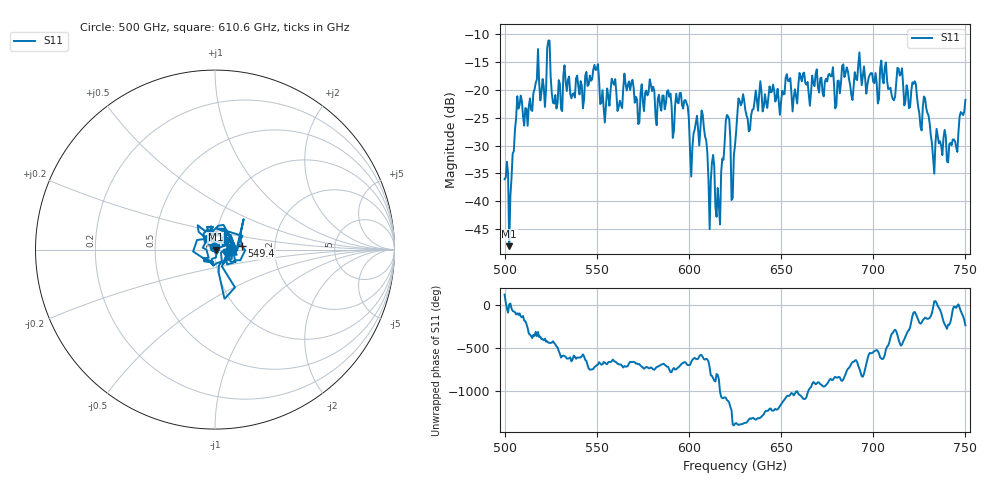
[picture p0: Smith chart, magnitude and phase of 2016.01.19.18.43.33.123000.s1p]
!Created with skrf (http://scikit-rf.org).
# GHz S RI R 50.0
!freq ReS11 ImS11
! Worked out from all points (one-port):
!   401 points, 500 GHz to 750 GHz, reference 50 ohm
!   lowest |S11| = -48.1 dB at 502.5 GHz (marker M1), VSWR 1.01, Z = 50.4 + j0.0537 ohm
!   |S11| at or under -10 dB: start of sweep to end of sweep
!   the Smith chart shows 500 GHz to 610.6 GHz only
!   S11 on the Smith chart (normalised r, x): 500 GHz: 0.98, +0.03; 549.4 GHz: 1.35, +0.05; 610.6 GHz: 1.01, +0.03
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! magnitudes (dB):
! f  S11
! 500 GHz  -36.0
! 502.5 GHz  -48.1
! 508.1 GHz  -22.7
! 520.6 GHz  -18.0
! 523.8 GHz  -11.1
! 526.9 GHz  -22.4
! 531.2 GHz  -23.8
! 549.4 GHz  -16.4
! 553.1 GHz  -20.0
! 562.5 GHz  -21.9
! 593.8 GHz  -22.2
! 598.8 GHz  -22.4
! 601.9 GHz  -30.3
! 608.1 GHz  -26.8
! 610.6 GHz  -36.3
! 615.6 GHz  -37.6
! 620.6 GHz  -24.5
! 623.8 GHz  -39.4
! 625 GHz  -29.9
! 628.1 GHz  -22.8
! 656.2 GHz  -23.9
! 687.5 GHz  -19.2
! 714.4 GHz  -17.4
! 718.8 GHz  -20.2
! 728.8 GHz  -23.2
! 732.5 GHz  -32.4
! 745 GHz  -30.3
! 750 GHz  -21.8
